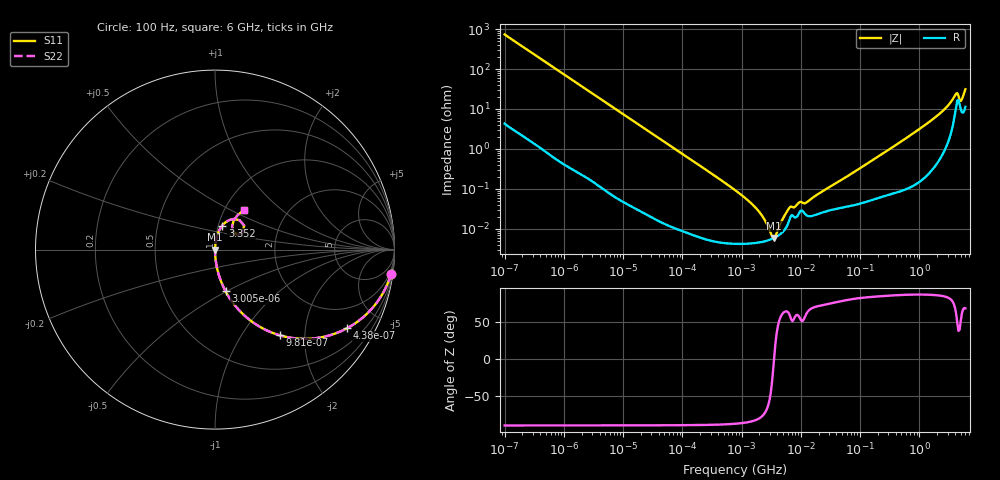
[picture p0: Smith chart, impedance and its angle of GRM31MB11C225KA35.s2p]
!Murata Part Number: GRM31MB11C225KA35
!These Parameters are Measured in Series Mode Connection
!Data Generated on Mar 30, 2021
!  o--ll--o
!Port1  Port2
!  o------o
!Operation Temp=25[degC], DC Bias Voltage=0[V]
!Freq. Start=100[Hz] Stop=6[GHz] 401[Steps]
# Hz S RI R 50
!Freq.(Hz) S11(Real) S11(Imag) S21(Real) S21(Imag) S12(Real) S12(Imag) S22(Real) S22(Imag)
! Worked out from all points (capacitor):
!   401 points, 100 Hz to 6 GHz, reference 50 ohm
!   read as one part in series: C = 2.17 uF near 109 Hz
!   lowest |Z| = 5.94 mohm at 3.55 MHz (marker M1)
!   series resonance near 3.531 MHz, so ESL is about 940 pH
!   S11 on the Smith chart (normalised r, x): 100 Hz: 1, -15; 438 Hz: 1.02, -3.36; 981 Hz: 1.01, -1.51; 3.005 kHz: 1.00, -0.49; 3.352 GHz: 1.04, +0.29; 6 GHz: 1.23, +0.58
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100  0.981 -0.1338  0.019 0.1338  0.019 0.1338  0.981 -0.1338
224  0.9137 -0.2779  0.0863 0.2779  0.0863 0.2779  0.9137 -0.2779
438  0.7374 -0.4372  0.2626 0.4372  0.2626 0.4372  0.7374 -0.4372
981  0.3624 -0.4779  0.6376 0.4779  0.6376 0.4779  0.3624 -0.4779
2008  0.1211 -0.3233  0.8789 0.3233  0.8789 0.3233  0.1211 -0.3233
3005  0.0587 -0.232  0.9413 0.232  0.9413 0.232  0.0587 -0.232
8801  0.00762 -0.0839  0.9924 0.0839  0.9924 0.0839  0.00762 -0.0839
40335  0.000499 -0.0186  0.9995 0.0186  0.9995 0.0186  0.000499 -0.0186
774597  4.29e-05 -0.000931  1 0.000931  1 0.000931  4.29e-05 -0.000931
1734173  4.43e-05 -0.000332  1 0.000332  1 0.000332  4.43e-05 -0.000332
2967816  5.3e-05 -7.57e-05  0.9999 7.57e-05  0.9999 7.57e-05  5.3e-05 -7.57e-05
3549919  5.93e-05 2.4e-06  0.9999 -2.4e-06  0.9999 -2.4e-06  5.93e-05 2.4e-06
4246196  6.91e-05 8.2e-05  0.9999 -8.2e-05  0.9999 -8.2e-05  6.91e-05 8.2e-05
6353432  0.000159 0.000289  0.9998 -0.000289  0.9998 -0.000289  0.000159 0.000289
1.243624e7  0.000218 0.000399  0.9998 -0.000399  0.9998 -0.000399  0.000218 0.000399
1.555665e7  0.000211 0.000548  0.9998 -0.000548  0.9998 -0.000548  0.000211 0.000548
3.124326e8  0.00081 0.00975  0.9992 -0.00975  0.9992 -0.00975  0.00081 0.00975
1.637704e9  0.00576 0.0529  0.9942 -0.0529  0.9942 -0.0529  0.00576 0.0529
3.352442e9  0.0404 0.1339  0.9596 -0.1339  0.9596 -0.1339  0.0404 0.1339
4.193612e9  0.1363 0.1642  0.8637 -0.1642  0.8637 -0.1642  0.1363 0.1642
5.016141e9  0.1005 0.1023  0.8995 -0.1023  0.8995 -0.1023  0.1005 0.1023
6e9  0.159 0.2194  0.841 -0.2194  0.841 -0.2194  0.159 0.2194
